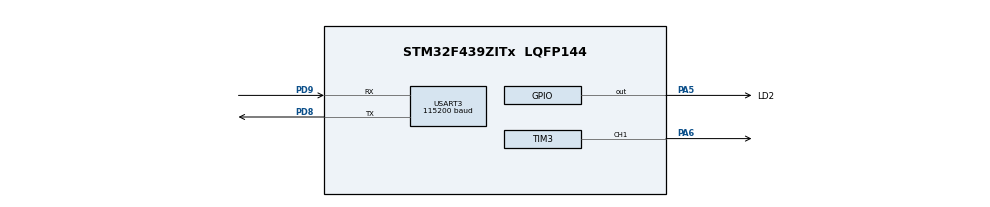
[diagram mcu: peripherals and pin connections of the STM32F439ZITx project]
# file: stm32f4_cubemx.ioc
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LibraryCopySrc=1
Mcu.Family=STM32F4
Mcu.Name=STM32F439ZITx
Mcu.Package=LQFP144
PA5.GPIO_Label=LD2
PA5.Mode=Output PP
PA5.Signal=GPIO_Output
PA5.GPIO_Speed=GPIO_SPEED_FREQ_LOW
PA5.GPIO_Pull=GPIO_NOPULL
PA6.Mode=PWM Generation CH1
PA6.Signal=TIM3_CH1
TIM3.Channel-PWM\ Generation\ CH1=TIM_CHANNEL_1
TIM3.ClockDivision=TIM_CLOCKDIVISION_DIV1
TIM3.CounterMode=TIM_COUNTERMODE_UP
TIM3.ICFilter_CH1=0
TIM3.Period=999
TIM3.Prescaler=15
TIM3.Pulse1=500
PA13.Mode=Serial Wire
PA13.Signal=SYS_JTMS-SWDIO
PA14.Mode=Serial Wire
PA14.Signal=SYS_JTCK-SWCLK
PD8.Mode=Asynchronous
PD8.Signal=USART3_TX
PD9.Mode=Asynchronous
PD9.Signal=USART3_RX
RCC.HSEState=RCC_HSE_ON
RCC.PLLState=RCC_PLL_NONE
RCC.SYSCLKSource=RCC_SYSCLKSOURCE_HSI
USART3.BaudRate=115200
USART3.WordLength=UART_WORDLENGTH_8B
USART3.StopBits=UART_STOPBITS_1
USART3.Parity=UART_PARITY_NONE
USART3.Mode=UART_MODE_TX_RX
USART3.HwFlowCtl=UART_HWCONTROL_NONE
board=NUCLEO-F439ZI
boardIODbName=DB::Board::NUCLEO-F439ZI

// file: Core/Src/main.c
/* USER CODE BEGIN Header */
/**
  ******************************************************************************
  * @file           : main.c
  * @brief          : Main program body
  ******************************************************************************
  * @attention
  *
  * Copyright (c) 2026 STMicroelectronics.
  * All rights reserved.
  *
  * This software is licensed under terms that can be found in the LICENSE file
  * in the root directory of this software component.
  * If no LICENSE file comes with this software, it is provided AS-IS.
  *
  ******************************************************************************
  */
/* USER CODE END Header */
#include "main.h"

/* USER CODE BEGIN Includes */
#include <stdio.h>
#include "usart.h"
#include "tim.h"
/* USER CODE END Includes */

void SystemClock_Config(void);

int main(void)
{

  /* USER CODE BEGIN 1 */
  /* SIGNATURE BOOT : 10 blinks rapides avant HAL_Init */
  RCC->AHB1ENR |= (1U << 0);
  GPIOA->MODER  = (GPIOA->MODER & ~(3U << 10)) | (1U << 10);
  for (int _i = 0; _i < 10; _i++) {
      GPIOA->BSRR = (1U << 5);
      for (volatile uint32_t _d = 0; _d < 80000U; _d++);
      GPIOA->BSRR = (1U << 21);
      for (volatile uint32_t _d = 0; _d < 80000U; _d++);
  }
  /* USER CODE END 1 */

  /* MCU Configuration--------------------------------------------------------*/

  /* Reset of all peripherals, Initializes the Flash interface and the Systick. */
  HAL_Init();

  /* Configure the system clock */
  SystemClock_Config();

  /* USER CODE BEGIN SysInit */
  SystemCoreClockUpdate();
  HAL_InitTick(TICK_INT_PRIORITY);
  /* USER CODE END SysInit */

  /* Initialize all configured peripherals */
  /* USER CODE BEGIN 2 */
  MX_USART3_UART_Init();
  __HAL_RCC_GPIOA_CLK_ENABLE();
  GPIO_InitTypeDef GPIO_InitStruct = {0};
  GPIO_InitStruct.Pin   = LD2_Pin;
  GPIO_InitStruct.Mode  = GPIO_MODE_OUTPUT_PP;
  GPIO_InitStruct.Pull  = GPIO_NOPULL;
  GPIO_InitStruct.Speed = GPIO_SPEED_FREQ_LOW;
  HAL_GPIO_Init(LD2_GPIO_Port, &GPIO_InitStruct);
  /* TIM3 PWM sur PA6 @ 1 kHz (PSC=15, ARR=999, TIMxCLK=16 MHz HSI) */
  MX_TIM3_Init();
  HAL_TIM_PWM_Start(&htim3, TIM_CHANNEL_1);
  printf("[PWM] TIM3 CH1 PA6 @ 1 kHz, duty=50%%\r\n");
  /* USER CODE END 2 */

  /* USER CODE BEGIN WHILE */
  while (1)
  {
    /* Montée duty 10 % → 90 % par paliers de 10 % (simulation vibration croissante) */
    for (uint32_t ccr = 100; ccr <= 900; ccr += 100)
    {
      __HAL_TIM_SET_COMPARE(&htim3, TIM_CHANNEL_1, ccr);
      printf("duty=%lu%%\r\n", ccr / 10);
      HAL_GPIO_TogglePin(GPIOA, GPIO_PIN_5);
      HAL_Delay(200);
    }
    /* Descente duty 90 % → 10 % */
    for (uint32_t ccr = 900; ccr >= 100; ccr -= 100)
    {
      __HAL_TIM_SET_COMPARE(&htim3, TIM_CHANNEL_1, ccr);
      printf("duty=%lu%%\r\n", ccr / 10);
      HAL_GPIO_TogglePin(GPIOA, GPIO_PIN_5);
      HAL_Delay(200);
    }
    /* USER CODE END WHILE */

  }
}

void SystemClock_Config(void)
{
  RCC_OscInitTypeDef RCC_OscInitStruct = {0};
  RCC_ClkInitTypeDef RCC_ClkInitStruct = {0};

  /** Configure the main internal regulator output voltage
  */
  __HAL_RCC_PWR_CLK_ENABLE();
  __HAL_PWR_VOLTAGESCALING_CONFIG(PWR_REGULATOR_VOLTAGE_SCALE3);

  /** Initializes the RCC Oscillators according to the specified parameters
  * in the RCC_OscInitTypeDef structure.
  */
  RCC_OscInitStruct.OscillatorType = RCC_OSCILLATORTYPE_HSI;
  RCC_OscInitStruct.HSIState = RCC_HSI_ON;
  RCC_OscInitStruct.HSICalibrationValue = RCC_HSICALIBRATION_DEFAULT;
  RCC_OscInitStruct.PLL.PLLState = RCC_PLL_NONE;
  if (HAL_RCC_OscConfig(&RCC_OscInitStruct) != HAL_OK)
  {
    Error_Handler();
  }

  /** Initializes the CPU, AHB and APB buses clocks
  */
  RCC_ClkInitStruct.ClockType = RCC_CLOCKTYPE_HCLK|RCC_CLOCKTYPE_SYSCLK
                              |RCC_CLOCKTYPE_PCLK1|RCC_CLOCKTYPE_PCLK2;
  RCC_ClkInitStruct.SYSCLKSource = RCC_SYSCLKSOURCE_HSI;
  RCC_ClkInitStruct.AHBCLKDivider = RCC_SYSCLK_DIV1;
  RCC_ClkInitStruct.APB1CLKDivider = RCC_HCLK_DIV1;
  RCC_ClkInitStruct.APB2CLKDivider = RCC_HCLK_DIV1;

  if (HAL_RCC_ClockConfig(&RCC_ClkInitStruct, FLASH_LATENCY_0) != HAL_OK)
  {
    Error_Handler();
  }
}

void Error_Handler(void)
{
  __disable_irq();
  while (1)
  {
  }
}
